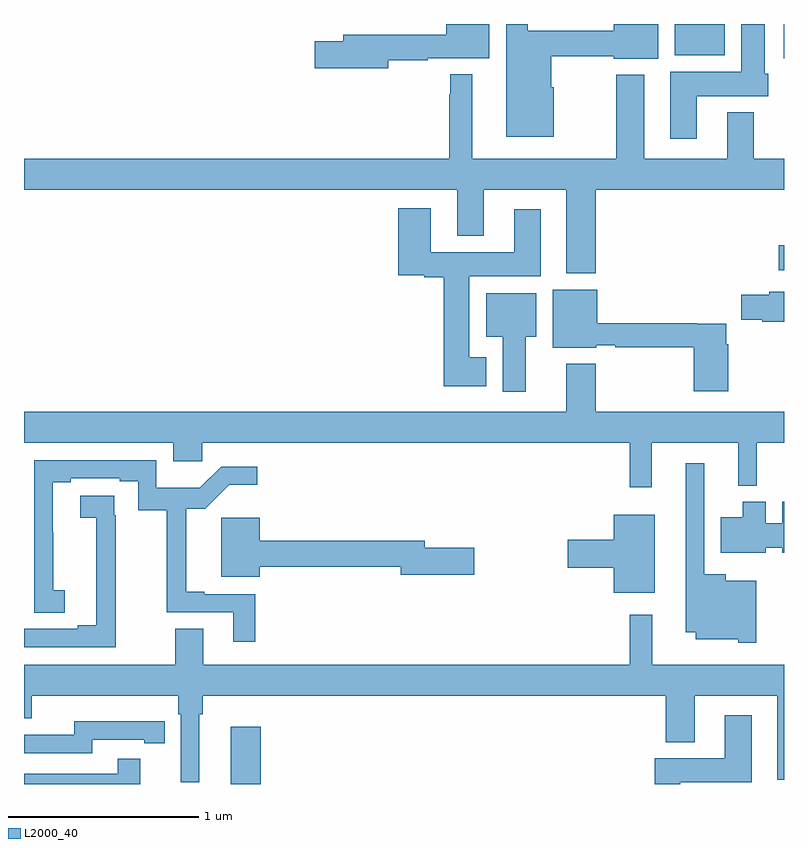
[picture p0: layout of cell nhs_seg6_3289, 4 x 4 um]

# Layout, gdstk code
import gdstk
lib = gdstk.Library(unit=1e-6, precision=1e-09)
def R(c, l, rs):  # rectangles x0, y0, x1, y1
    for r in rs: c.add(gdstk.rectangle(r[:2], r[2:], *l))
def P(c, l, *ps):  # polygons
    for p in ps: c.add(gdstk.Polygon(p, *l))
L2000_40 = (2000, 40)

nhs_seg6_3289 = lib.new_cell('nhs_seg6_3289')
R(nhs_seg6_3289, L2000_40, [(304.088,985.5,304.247,985.801), (306.972,988.205,307,988.335), (306.998,989.321,307,989.5), (306.425,989.336,306.688,989.5)])
P(nhs_seg6_3289, L2000_40, [(304.918,989.308),(305.126,989.308),(305.126,989.321),(305.449,989.321),(305.449,989.5),(305.222,989.5),(305.222,989.444),(304.679,989.444),(304.679,989.408),(304.53,989.408),(304.53,989.266),(304.918,989.266)],
  [(305.788,989.166),(305.776,989.166),(305.776,989.329),(306.104,989.329),(306.104,989.318),(306.337,989.318),(306.337,989.5),(306.104,989.5),(306.104,989.465),(305.651,989.465),(305.651,989.5),(305.537,989.5),(305.537,988.907),(305.788,988.907)],
  [(306.541,989.12),(306.916,989.12),(306.916,989.238),(306.898,989.238),(306.898,989.5),(306.776,989.5),(306.776,989.248),(306.401,989.248),(306.401,988.896),(306.541,988.896)],
  [(306.008,988.628),(307,988.628),(307,988.792),(306.841,988.792),(306.841,989.035),(306.701,989.035),(306.701,988.792),(306.265,988.792),(306.265,989.233),(306.118,989.233),(306.118,988.792),(305.359,988.792),(305.359,989.236),(305.244,989.236),(305.244,989.129),(305.238,989.129),(305.238,988.792),(303,988.792),(303,988.628),(305.279,988.628),(305.279,988.385),(305.419,988.385),(305.419,988.628),(305.855,988.628),(305.855,988.187),(306.008,988.187)],
  [(305.434,987.745),(305.344,987.745),(305.344,988.172),(305.719,988.172),(305.719,988.525),(305.579,988.525),(305.579,988.3),(305.14,988.3),(305.14,988.531),(304.97,988.531),(304.97,988.178),(305.106,988.178),(305.106,988.166),(305.21,988.166),(305.21,987.593),(305.434,987.593)],
  [(306.707,987.815),(306.695,987.815),(306.695,987.923),(306.54,987.923),(306.54,987.926),(306.016,987.926),(306.016,988.102),(305.783,988.102),(305.783,987.797),(306.012,987.797),(306.012,987.81),(306.112,987.81),(306.112,987.798),(306.524,987.798),(306.524,987.567),(306.707,987.567)],
  [(307,988.092),(306.923,988.092),(306.923,988.076),(306.774,988.076),(306.774,987.943),(306.886,987.943),(306.886,987.934),(307,987.934)],
  [(305.641,987.854),(305.695,987.854),(305.695,988.084),(305.432,988.084),(305.432,987.854),(305.519,987.854),(305.519,987.564),(305.641,987.564)],
  [(306.305,987.296),(306.758,987.296),(306.758,987.071),(306.857,987.071),(306.857,987.296),(307,987.296),(307,987.46),(306.008,987.46),(306.008,987.712),(305.855,987.712),(305.855,987.46),(303,987.46),(303,987.296),(303.785,987.296),(303.785,987.198),(303.937,987.198),(303.937,987.296),(306.187,987.296),(306.187,987.063),(306.305,987.063)],
  [(304.217,986.499),(303.949,986.499),(303.949,986.512),(303.854,986.512),(303.854,986.949),(303.953,986.949),(304.079,987.074),(304.228,987.074),(304.228,987.171),(304.038,987.171),(303.925,987.058),(303.696,987.058),(303.696,987.204),(303.054,987.204),(303.054,986.401),(303.214,986.401),(303.214,986.521),(303.153,986.521),(303.153,986.825),(303.151,986.825),(303.151,987.088),(303.247,987.088),(303.247,987.108),(303.503,987.108),(303.503,987.094),(303.6,987.094),(303.6,986.941),(303.751,986.941),(303.751,986.403),(304.1,986.403),(304.1,986.25),(304.217,986.25)],
  [(306.853,986.569),(306.694,986.569),(306.694,986.605),(306.579,986.605),(306.579,987.187),(306.482,987.187),(306.482,986.3),(306.536,986.3),(306.536,986.261),(306.759,986.261),(306.759,986.243),(306.853,986.243)],
  [(303.482,986.915),(303.476,986.915),(303.476,987.017),(303.297,987.017),(303.297,986.902),(303.379,986.902),(303.379,986.619),(303.38,986.619),(303.38,986.336),(303.284,986.336),(303.284,986.316),(303,986.316),(303,986.22),(303.482,986.22)],
  [(306.904,986.743),(306.992,986.743),(306.992,986.717),(307,986.717),(307,986.986),(306.992,986.986),(306.992,986.872),(306.904,986.872),(306.904,986.986),(306.782,986.986),(306.782,986.905),(306.668,986.905),(306.668,986.717),(306.904,986.717)],
  [(306.319,986.917),(306.104,986.917),(306.104,986.786),(305.862,986.786),(305.862,986.639),(306.104,986.639),(306.104,986.507),(306.319,986.507)],
  [(304.24,986.644),(304.982,986.644),(304.982,986.602),(305.371,986.602),(305.371,986.744),(305.11,986.744),(305.11,986.78),(304.24,986.78),(304.24,986.901),(304.037,986.901),(304.037,986.591),(304.24,986.591)],
  [(303.922,985.868),(303.941,985.868),(303.941,985.964),(306.377,985.964),(306.377,985.721),(306.529,985.721),(306.529,985.964),(306.965,985.964),(306.965,985.523),(307,985.523),(307,986.128),(306.306,986.128),(306.306,986.392),(306.187,986.392),(306.187,986.128),(303.943,986.128),(303.943,986.318),(303.796,986.318),(303.796,986.128),(303,986.128),(303,985.847),(303.04,985.847),(303.04,985.964),(303.812,985.964),(303.812,985.868),(303.825,985.868),(303.825,985.509),(303.922,985.509)],
  [(306.454,985.508),(306.829,985.508),(306.829,985.861),(306.689,985.861),(306.689,985.636),(306.32,985.636),(306.32,985.5),(306.454,985.5)],
  [(303.36,985.734),(303.632,985.734),(303.632,985.714),(303.74,985.714),(303.74,985.83),(303.632,985.83),(303.632,985.831),(303.264,985.831),(303.264,985.758),(303,985.758),(303,985.662),(303.36,985.662)],
  [(303.611,985.633),(303.493,985.633),(303.493,985.554),(303,985.554),(303,985.5),(303.611,985.5)])

lib.write_gds('nhs_seg6_3289.gds')
